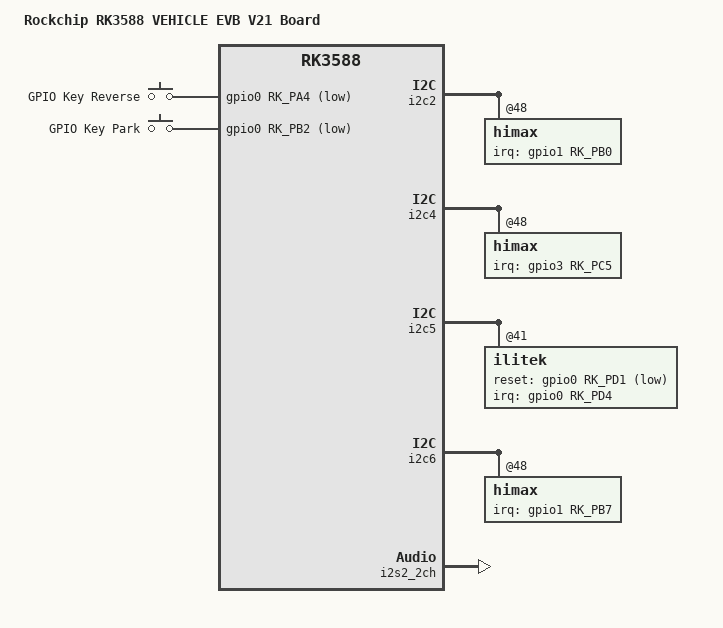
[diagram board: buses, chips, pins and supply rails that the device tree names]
// SPDX-License-Identifier: (GPL-2.0+ OR MIT)
/*
 * Copyright (c) 2023 Rockchip Electronics Co., Ltd.
 *
 */

/dts-v1/;

#include "rk3588-vehicle-evb-v21.dtsi"
#include "rk3588-vehicle-evb-maxim-max96712-dphy3.dtsi"
#include "rk3588-vehicle-serdes-mfd-display-rohm.dtsi"
#include "rk3588-android.dtsi"

/ {
	model = "Rockchip RK3588 VEHICLE EVB V21 Board";
	compatible = "rockchip,rk3588-vehicle-evb-v21", "rockchip,rk3588";

	bt-sound {
		compatible = "simple-audio-card";
		simple-audio-card,format = "dsp_a";
		simple-audio-card,bitclock-inversion;
		simple-audio-card,mclk-fs = <256>;
		simple-audio-card,name = "rockchip,bt";
		simple-audio-card,cpu {
			sound-dai = <&i2s2_2ch>;
		};

		simple-audio-card,codec {
			sound-dai = <&bt_sco 1>;
		};
	};

	bt_sco: bt-sco {
		compatible = "delta,dfbmcs320";
		#sound-dai-cells = <1>;
		status = "okay";
	};
	gpio-keys {
		compatible = "gpio-keys";
		autorepeat;

		reverse {
			label = "GPIO Key Reverse";
			linux,code = <KEY_CAMERA_DOWN>;
			gpios = <&gpio0 RK_PA4 GPIO_ACTIVE_LOW>;
			debounce-interval = <100>;
		};

		park {
			label = "GPIO Key Park";
			linux,code = <KEY_CAMERA>;
			gpios = <&gpio0 RK_PB2 GPIO_ACTIVE_LOW>;
			debounce-interval = <100>;
		};
	};
};

&i2c2 {
	himax@48 {
		himax,irq-gpio = <&gpio1 RK_PB0 IRQ_TYPE_EDGE_FALLING>;
	};
};

&i2c4 {
	himax@48 {
		himax,irq-gpio = <&gpio3 RK_PC5 IRQ_TYPE_EDGE_FALLING>;
	};
};

&i2c5 {
	ilitek@41 {
		interrupt-parent = <&gpio0>;
		interrupts = <RK_PD4 IRQ_TYPE_LEVEL_LOW>;
		reset-gpio = <&gpio0 RK_PD1 GPIO_ACTIVE_LOW>;
	};
};

&i2c6 {
	himax@48 {
		himax,irq-gpio = <&gpio1 RK_PB7 IRQ_TYPE_EDGE_FALLING>;	//use rst as int
	};
};

&i2s2_2ch {
	pinctrl-0 = <&i2s2m1_lrck
		     &i2s2m1_sclk
		     &i2s2m1_sdi
		     &i2s2m1_sdo>;
	status = "okay";
};


&pinctrl {

	bl {
		bl0_enable_pin: bl0-enable-pin {
			rockchip,pins =
				<1 RK_PA7 RK_FUNC_GPIO &pcfg_pull_none>,
				<4 RK_PD2 RK_FUNC_GPIO &pcfg_pull_none>,
				<4 RK_PD3 RK_FUNC_GPIO &pcfg_pull_none>;

		};

		bl1_enable_pin: bl1-enable-pin {
			rockchip,pins = <1 RK_PB6 RK_FUNC_GPIO &pcfg_pull_none>;
		};

		bl2_enable_pin: bl2-enable-pin {
			rockchip,pins = <3 RK_PC4 RK_FUNC_GPIO &pcfg_pull_none>;
		};

		bl3_enable_pin: bl3-enable-pin {
			rockchip,pins = <3 RK_PC6 RK_FUNC_GPIO &pcfg_pull_none>;
		};

		bl4_enable_pin: bl4-enable-pin {
			rockchip,pins = <0 RK_PD5 RK_FUNC_GPIO &pcfg_pull_none>;
		};

		bl5_enable_pin: bl5-enable-pin {
			rockchip,pins = <1 RK_PA6 RK_FUNC_GPIO &pcfg_pull_none>;
		};
	};

	serdes {
		//dsi0
		ser0_rst_pin: ser0-rst-pin {
			rockchip,pins = <1 RK_PA4 RK_FUNC_GPIO &pcfg_pull_none>;
		};

		//dsi1
		ser1_rst_pin: ser1-rst-pin {
			rockchip,pins = <1 RK_PA5 RK_FUNC_GPIO &pcfg_pull_none>;
		};
	};

	touch {
		//dsi0-i2c2
		touch_gpio_dsi0: touch-gpio-dsi0 {
			rockchip,pins =
				<1 RK_PB0 RK_FUNC_GPIO &pcfg_pull_up>;  //rst
		};
		//dsi1-i2c6
		touch_gpio_dsi1: touch-gpio-dsi1 {
			rockchip,pins =
				<1 RK_PB7 RK_FUNC_GPIO &pcfg_pull_up>,  //rst
				<1 RK_PB1 RK_FUNC_GPIO &pcfg_pull_up>;  //int
		};
		//dp0-i2c4
		touch_gpio_dp0: touch-gpio-dp0 {
			rockchip,pins =
				<3 RK_PC5 RK_FUNC_GPIO &pcfg_pull_up>,	//rst
				<0 RK_PC0 RK_FUNC_GPIO &pcfg_pull_up>;	//int
		};
		//edp0-i2c5
		touch_gpio_edp0: touch-gpio-edp0 {
			rockchip,pins =
				<0 RK_PD4 RK_FUNC_GPIO &pcfg_pull_up>,  //rst
				<0 RK_PD1 RK_FUNC_GPIO &pcfg_pull_up>;  //int
		};
	};
};

&rockchip_suspend {
	rockchip,sleep-mode-config = <
		(0
		| RKPM_SLP_ARMOFF_DDRPD
		| RKPM_SLP_PMU_PMUALIVE_32K
		| RKPM_SLP_PMU_DIS_OSC
		| RKPM_SLP_32K_EXT
		)
	>;
	rockchip,wakeup-config = <
		(0
		| RKPM_CPU0_WKUP_EN
		| RKPM_GPIO_WKUP_EN
		)
	>;
	status = "okay";
};

&vdd_log_s0 {
	regulator-state-mem {
		regulator-on-in-suspend;
		regulator-suspend-microvolt = <800000>;
	};
};

&vcc_3v3_s0 {
	regulator-state-mem {
		regulator-on-in-suspend;
		regulator-suspend-microvolt = <3300000>;
	};
};

&vcc_1v8_s0 {
	regulator-state-mem {
		regulator-on-in-suspend;
		regulator-suspend-microvolt = <1800000>;
	};
};

&vdd_1v8_pll_s0 {
		regulator-on-in-suspend;
		regulator-suspend-microvolt = <1800000>;
};
